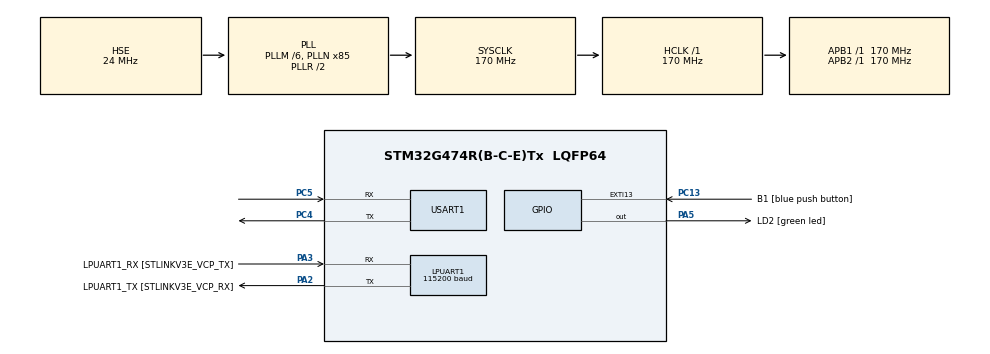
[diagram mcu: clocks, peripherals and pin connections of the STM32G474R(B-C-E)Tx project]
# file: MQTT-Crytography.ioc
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Mcu.Family=STM32G4
RCC.CortexFreq_Value=170000000
Dma.USART1_RX.0.EventEnable=DISABLE
PA14.GPIO_Label=T_SWCLK
Dma.USART1_RX.0.SignalID=NONE
LPUART1.WordLength=UART_WORDLENGTH_8B
PC5.Mode=Asynchronous
PC13.GPIO_Label=B1 [blue push button]
RCC.SYSCLKSource=RCC_SYSCLKSOURCE_PLLCLK
ProjectManager.StackSize=0x400
RCC.HCLKFreq_Value=170000000
RCC.APB2TimFreq_Value=170000000
RCC.AHBFreq_Value=170000000
Dma.USART1_RX.0.Priority=DMA_PRIORITY_LOW
NVIC.EXTI15_10_IRQn=true\:0\:0\:false\:false\:true\:true\:true
RCC.HSE_VALUE=24000000
RCC.RTCClockSelection=RCC_RTCCLKSOURCE_LSE
RCC.ADC12Freq_Value=170000000
PC14-OSC32_IN.Mode=LSE-External-Oscillator
PA14.Mode=Serial_Wire
Dma.USART1_RX.0.SyncEnable=DISABLE
VP_SYS_VS_DBSignals.Mode=DisableDeadBatterySignals
Dma.USART1_RX.0.MemInc=DMA_MINC_ENABLE
Mcu.Package=LQFP64
PA2.GPIO_Label=LPUART1_TX [STLINKV3E_VCP_RX]
RCC.APB1TimFreq_Value=170000000
Dma.USART1_RX.0.Mode=DMA_CIRCULAR
PC5.Signal=USART1_RX
NVIC.USART1_IRQn=true\:0\:0\:false\:false\:true\:true\:true
PF1-OSC_OUT.Mode=HSE-External-Oscillator
Dma.Request0=USART1_RX
Dma.USART1_RX.0.Instance=DMA1_Channel1
PF1-OSC_OUT.Signal=RCC_OSC_OUT
PC4.Mode=Asynchronous
RCC.HSI48_VALUE=48000000
PA3.Signal=LPUART1_RX
PB3.GPIO_Label=T_SWO
RCC.PLLSourceVirtual=RCC_PLLSOURCE_HSE
PC15-OSC32_OUT.Mode=LSE-External-Oscillator
Dma.USART1_RX.0.PeriphDataAlignment=DMA_PDATAALIGN_BYTE
PC13.Signal=GPXTI13
PC4.Signal=USART1_TX
RCC.EXTERNAL_CLOCK_VALUE=12288000
PC14-OSC32_IN.Signal=RCC_OSC32_IN
Dma.USART1_RX.0.RequestNumber=1
Dma.USART1_RX.0.Polarity=HAL_DMAMUX_REQ_GEN_RISING
USART1.VirtualMode-Asynchronous=VM_ASYNC
PA13.Signal=SYS_JTMS-SWDIO
PA3.Mode=Asynchronous
ProjectManager.TargetToolchain=STM32CubeIDE
Dma.USART1_RX.0.SyncRequestNumber=1
Dma.USART1_RX.0.Direction=DMA_PERIPH_TO_MEMORY
RCC.USBFreq_Value=170000000
PC15-OSC32_OUT.Signal=RCC_OSC32_OUT
Dma.USART1_RX.0.PeriphInc=DMA_PINC_DISABLE
PF0-OSC_IN.Mode=HSE-External-Oscillator
PA5.Signal=GPIO_Output
board=NUCLEO-G474RE
RCC.VCOOutputFreq_Value=340000000
RCC.ADC345Freq_Value=170000000
RCC.APB2Freq_Value=170000000
Dma.USART1_RX.0.MemDataAlignment=DMA_MDATAALIGN_BYTE
Dma.USART1_RX.0.SyncPolarity=HAL_DMAMUX_SYNC_NO_EVENT
PA13.Mode=Serial_Wire
Mcu.Name=STM32G474R(B-C-E)Tx
Dma.USART1_RX.0.SyncSignalID=NONE
LPUART1.BaudRate=115200
PA13.GPIO_Label=T_SWDIO
PA2.Signal=LPUART1_TX
PB3.Signal=SYS_JTDO-SWO
RCC.SYSCLKFreq_VALUE=170000000
PA5.GPIO_Label=LD2 [green led]
PA14.Signal=SYS_JTCK-SWCLK
ProjectManager.HeapSize=0x200
RCC.HSI_VALUE=16000000
NVIC.PriorityGroup=NVIC_PRIORITYGROUP_4
RCC.PLLM=RCC_PLLM_DIV6
RCC.PLLN=85
PA2.Mode=Asynchronous
NVIC.DMA1_Channel1_IRQn=true\:0\:0\:false\:false\:true\:false\:true
PF0-OSC_IN.Signal=RCC_OSC_IN
RCC.APB1Freq_Value=170000000
PA3.GPIO_Label=LPUART1_RX [STLINKV3E_VCP_TX]

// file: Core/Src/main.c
/* USER CODE BEGIN Header */
/**
  ******************************************************************************
  * @file           : main.c
  * @brief          : Main program body
  ******************************************************************************
  * @attention
  *
  * <h2><center>&copy; Copyright (c) 2022 STMicroelectronics.
  * All rights reserved.</center></h2>
  *
  * This software component is licensed by ST under BSD 3-Clause license,
  * the "License"; You may not use this file except in compliance with the
  * License. You may obtain a copy of the License at:
  *                        opensource.org/licenses/BSD-3-Clause
  *
  ******************************************************************************
  */
/* USER CODE END Header */
#include "main.h"

/* USER CODE BEGIN Includes */
#include "mqtt.h"
#include "string.h"

extern RingBuffer *rx_buffer;
/* USER CODE END Includes */

UART_HandleTypeDef hlpuart1;
UART_HandleTypeDef huart1;
DMA_HandleTypeDef hdma_usart1_rx;

void SystemClock_Config(void);
static void MX_GPIO_Init(void);
static void MX_DMA_Init(void);
static void MX_LPUART1_UART_Init(void);
static void MX_USART1_UART_Init(void);

/* USER CODE BEGIN 0 */
Status response;

void UART_SendMessage(uint8_t* messageArray, size_t size)
{

	for(int i=0;i<size;i++)
	{
		USART1->TDR = *messageArray++;
		while(!(USART1->ISR & (1<<6)));		// wait for transmit register(TC) to set.
	}
/* with HAL drivers-----------------------*/
//	HAL_UART_Transmit(&huart1, messageArray, strlen((char*)messageArray), HAL_MAX_DELAY);
}

uint8_t UART_ReceiveByte(void)
{

	return USART1->RDR;
/* with HAL drivers-----------------------*/
//	uint8_t buffer[10];
//
//	HAL_UART_Receive(&huart1, &buffer, 1, HAL_MAX_DELAY);
//
//	return buffer[0];
}
void USART1_IRQHandler(void)
{
	  if(USART1->ISR & (1<<5))			// rx interrupt
	  {
		 ESP_UART_ReceiveHandler(); 		// ESP receive handler function.
		 mqtt_receive_handler();
	  }
}
/* USER CODE END 0 */

int main(void)
{

  /* MCU Configuration--------------------------------------------------------*/

  /* Reset of all peripherals, Initializes the Flash interface and the Systick. */
  HAL_Init();

  /* Configure the system clock */
  SystemClock_Config();

  /* Initialize all configured peripherals */
  MX_GPIO_Init();
  MX_DMA_Init();
  MX_LPUART1_UART_Init();
  MX_USART1_UART_Init();

  /* Infinite loop */
  /* USER CODE BEGIN WHILE */
  while(!HAL_GPIO_ReadPin(B1_GPIO_Port, B1_Pin));		// Start button

  ESP_Init(UART_SendMessage,	// UART transmit function
  		  UART_ReceiveByte,		// UART receive function
  		  HAL_GetTick,			// get tick function
  		  1024					// UART ring buffer size
  		  );

  mqtt_init((size_t)1024);

  USART1->CR1 |= (1<<5); // rx interrupt enable

  char ssid[] = "Topuz";
  char password[] = "tmhm4545.";
//  Send_AT_Command("AT+RST\r\n", strlen("AT+RST\r\n"));
  HAL_Delay(2000);

  while((response = Is_Echo_Mode_Disabled()) == IDLE);

  if(response == STATUS_ERROR)
	  while((response = Disable_Echo_Mode()) == IDLE);

  while((response = Connect_Wifi(ssid, password)) == IDLE);

  while((response = mqtt_connect_broker("192.168.137.1", "1883", "Topuz")) == IDLE);

  char payload[100];
  uint32_t lastTick=0;
  uint32_t local_time = 0;
  uint32_t hour=0,minute=0,second=0;
  while((response = mqtt_subcribe("topuz/sub")) == IDLE);

  int result = 0;
  MQTT_Publish_Packet received_packet = {0};

  while (1)
  {

	  if(HAL_GetTick() - lastTick >= 1000){
		  lastTick = HAL_GetTick();
		  local_time++;
		  hour = local_time/3600;
		  minute = local_time/60;
		  second = local_time%60;
		  sprintf(payload,"Local time:%.2d:%.2d:%.2d",hour,minute,second);
		  while((response = mqtt_publish_message("topuz/test", payload)) == IDLE);

	  }

	  result = mqtt_read_message(&received_packet, "topuz/sub");
	  if(result>0)
	  {
		  if(strcmp(received_packet.message,"LED_TOGGLE") == 0)
			  HAL_GPIO_TogglePin(LD2_GPIO_Port, LD2_Pin);

		  mqtt_clear_buffer();
	  }

//	  HAL_Delay(500);

    /* USER CODE END WHILE */

  }
}

void SystemClock_Config(void)
{
  RCC_OscInitTypeDef RCC_OscInitStruct = {0};
  RCC_ClkInitTypeDef RCC_ClkInitStruct = {0};
  RCC_PeriphCLKInitTypeDef PeriphClkInit = {0};

  /** Configure the main internal regulator output voltage
  */
  HAL_PWREx_ControlVoltageScaling(PWR_REGULATOR_VOLTAGE_SCALE1_BOOST);
  /** Initializes the RCC Oscillators according to the specified parameters
  * in the RCC_OscInitTypeDef structure.
  */
  RCC_OscInitStruct.OscillatorType = RCC_OSCILLATORTYPE_HSE;
  RCC_OscInitStruct.HSEState = RCC_HSE_ON;
  RCC_OscInitStruct.PLL.PLLState = RCC_PLL_ON;
  RCC_OscInitStruct.PLL.PLLSource = RCC_PLLSOURCE_HSE;
  RCC_OscInitStruct.PLL.PLLM = RCC_PLLM_DIV6;
  RCC_OscInitStruct.PLL.PLLN = 85;
  RCC_OscInitStruct.PLL.PLLP = RCC_PLLP_DIV2;
  RCC_OscInitStruct.PLL.PLLQ = RCC_PLLQ_DIV2;
  RCC_OscInitStruct.PLL.PLLR = RCC_PLLR_DIV2;
  if (HAL_RCC_OscConfig(&RCC_OscInitStruct) != HAL_OK)
  {
    Error_Handler();
  }
  /** Initializes the CPU, AHB and APB buses clocks
  */
  RCC_ClkInitStruct.ClockType = RCC_CLOCKTYPE_HCLK|RCC_CLOCKTYPE_SYSCLK
                              |RCC_CLOCKTYPE_PCLK1|RCC_CLOCKTYPE_PCLK2;
  RCC_ClkInitStruct.SYSCLKSource = RCC_SYSCLKSOURCE_PLLCLK;
  RCC_ClkInitStruct.AHBCLKDivider = RCC_SYSCLK_DIV1;
  RCC_ClkInitStruct.APB1CLKDivider = RCC_HCLK_DIV1;
  RCC_ClkInitStruct.APB2CLKDivider = RCC_HCLK_DIV1;

  if (HAL_RCC_ClockConfig(&RCC_ClkInitStruct, FLASH_LATENCY_4) != HAL_OK)
  {
    Error_Handler();
  }
  /** Initializes the peripherals clocks
  */
  PeriphClkInit.PeriphClockSelection = RCC_PERIPHCLK_USART1|RCC_PERIPHCLK_LPUART1;
  PeriphClkInit.Usart1ClockSelection = RCC_USART1CLKSOURCE_PCLK2;
  PeriphClkInit.Lpuart1ClockSelection = RCC_LPUART1CLKSOURCE_PCLK1;
  if (HAL_RCCEx_PeriphCLKConfig(&PeriphClkInit) != HAL_OK)
  {
    Error_Handler();
  }
}

static void MX_LPUART1_UART_Init(void)
{

  hlpuart1.Instance = LPUART1;
  hlpuart1.Init.BaudRate = 115200;
  hlpuart1.Init.WordLength = UART_WORDLENGTH_8B;
  hlpuart1.Init.StopBits = UART_STOPBITS_1;
  hlpuart1.Init.Parity = UART_PARITY_NONE;
  hlpuart1.Init.Mode = UART_MODE_TX_RX;
  hlpuart1.Init.HwFlowCtl = UART_HWCONTROL_NONE;
  hlpuart1.Init.OneBitSampling = UART_ONE_BIT_SAMPLE_DISABLE;
  hlpuart1.Init.ClockPrescaler = UART_PRESCALER_DIV1;
  hlpuart1.AdvancedInit.AdvFeatureInit = UART_ADVFEATURE_NO_INIT;
  if (HAL_UART_Init(&hlpuart1) != HAL_OK)
  {
    Error_Handler();
  }
  if (HAL_UARTEx_SetTxFifoThreshold(&hlpuart1, UART_TXFIFO_THRESHOLD_1_8) != HAL_OK)
  {
    Error_Handler();
  }
  if (HAL_UARTEx_SetRxFifoThreshold(&hlpuart1, UART_RXFIFO_THRESHOLD_1_8) != HAL_OK)
  {
    Error_Handler();
  }
  if (HAL_UARTEx_DisableFifoMode(&hlpuart1) != HAL_OK)
  {
    Error_Handler();
  }

}

static void MX_USART1_UART_Init(void)
{

  huart1.Instance = USART1;
  huart1.Init.BaudRate = 115200;
  huart1.Init.WordLength = UART_WORDLENGTH_8B;
  huart1.Init.StopBits = UART_STOPBITS_1;
  huart1.Init.Parity = UART_PARITY_NONE;
  huart1.Init.Mode = UART_MODE_TX_RX;
  huart1.Init.HwFlowCtl = UART_HWCONTROL_NONE;
  huart1.Init.OverSampling = UART_OVERSAMPLING_16;
  huart1.Init.OneBitSampling = UART_ONE_BIT_SAMPLE_DISABLE;
  huart1.Init.ClockPrescaler = UART_PRESCALER_DIV1;
  huart1.AdvancedInit.AdvFeatureInit = UART_ADVFEATURE_NO_INIT;
  if (HAL_UART_Init(&huart1) != HAL_OK)
  {
    Error_Handler();
  }
  if (HAL_UARTEx_SetTxFifoThreshold(&huart1, UART_TXFIFO_THRESHOLD_1_8) != HAL_OK)
  {
    Error_Handler();
  }
  if (HAL_UARTEx_SetRxFifoThreshold(&huart1, UART_RXFIFO_THRESHOLD_1_8) != HAL_OK)
  {
    Error_Handler();
  }
  if (HAL_UARTEx_DisableFifoMode(&huart1) != HAL_OK)
  {
    Error_Handler();
  }

}

static void MX_DMA_Init(void)
{

  /* DMA controller clock enable */
  __HAL_RCC_DMAMUX1_CLK_ENABLE();
  __HAL_RCC_DMA1_CLK_ENABLE();

  /* DMA interrupt init */
  /* DMA1_Channel1_IRQn interrupt configuration */
  HAL_NVIC_SetPriority(DMA1_Channel1_IRQn, 0, 0);
  HAL_NVIC_EnableIRQ(DMA1_Channel1_IRQn);

}

static void MX_GPIO_Init(void)
{
  GPIO_InitTypeDef GPIO_InitStruct = {0};

  /* GPIO Ports Clock Enable */
  __HAL_RCC_GPIOC_CLK_ENABLE();
  __HAL_RCC_GPIOF_CLK_ENABLE();
  __HAL_RCC_GPIOA_CLK_ENABLE();
  __HAL_RCC_GPIOB_CLK_ENABLE();

  /*Configure GPIO pin Output Level */
  HAL_GPIO_WritePin(LD2_GPIO_Port, LD2_Pin, GPIO_PIN_RESET);

  /*Configure GPIO pin : B1_Pin */
  GPIO_InitStruct.Pin = B1_Pin;
  GPIO_InitStruct.Mode = GPIO_MODE_IT_RISING;
  GPIO_InitStruct.Pull = GPIO_NOPULL;
  HAL_GPIO_Init(B1_GPIO_Port, &GPIO_InitStruct);

  /*Configure GPIO pin : LD2_Pin */
  GPIO_InitStruct.Pin = LD2_Pin;
  GPIO_InitStruct.Mode = GPIO_MODE_OUTPUT_PP;
  GPIO_InitStruct.Pull = GPIO_NOPULL;
  GPIO_InitStruct.Speed = GPIO_SPEED_FREQ_LOW;
  HAL_GPIO_Init(LD2_GPIO_Port, &GPIO_InitStruct);

  /* EXTI interrupt init*/
  HAL_NVIC_SetPriority(EXTI15_10_IRQn, 0, 0);
  HAL_NVIC_EnableIRQ(EXTI15_10_IRQn);

}

void Error_Handler(void)
{
  __disable_irq();
  while (1)
  {
  }
}

/************************ (C) COPYRIGHT STMicroelectronics *****END OF FILE****/
